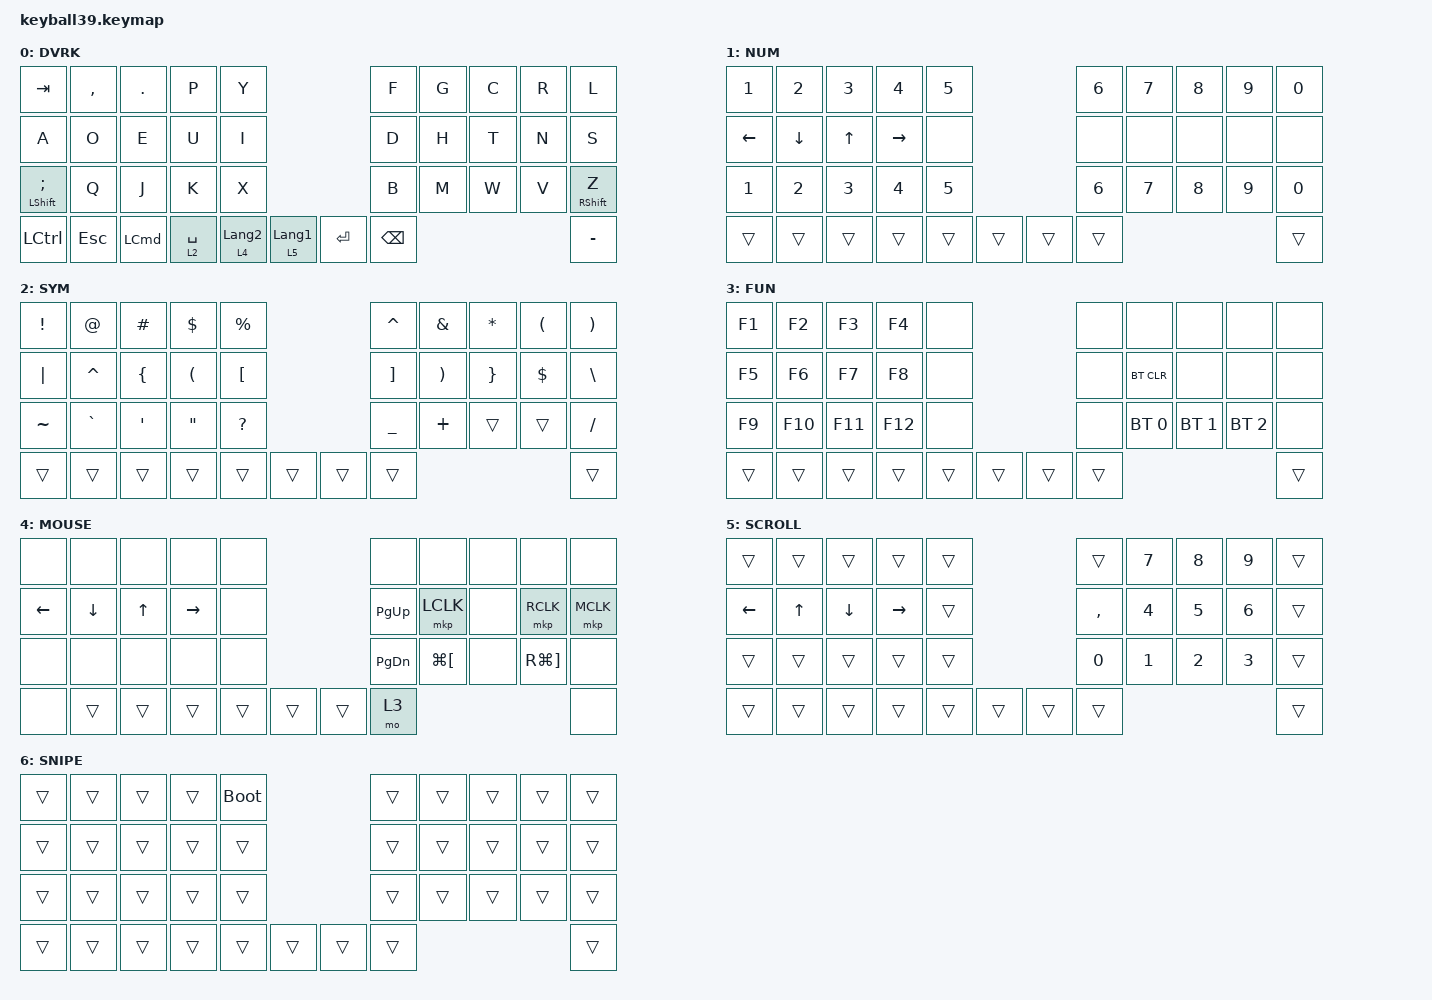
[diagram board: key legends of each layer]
#define DEFAULT 0
#define NUM     1
#define SYM     2
#define FUN     3
#define MOUSE   4
#define SCROLL  5
#define SNIPE   6

#include <behaviors/mouse_keys.dtsi>
#include <dt-bindings/zmk/mouse.h>
#include <behaviors.dtsi>
#include <dt-bindings/zmk/bt.h>
#include <dt-bindings/zmk/keys.h>
#include <dt-bindings/zmk/pointing.h>

&lt {
    tapping-term-ms = <240>;
    flavor = "balanced";
    quick-tap-ms = <150>;
};

&mt {
    tapping-term-ms = <200>;
    flavor = "tap-preferred";
    quick-tap-ms = <150>;
};

&caps_word { continue-list = <UNDERSCORE MINUS>; };

/ {
    // custom shift using mod-morph 

    behaviors {
        cmqus: comma_question {
            compatible = "zmk,behavior-mod-morph";
            label = "COMMA_QUESTION";
            #binding-cells = <0>;
            bindings = <&kp COMMA>, <&kp QUESTION>;

            mods = <(MOD_LSFT|MOD_RSFT)>;
        };

        dtsmi: dot_semi {
            compatible = "zmk,behavior-mod-morph";
            label = "DOT_SEMI";
            #binding-cells = <0>;
            bindings = <&kp DOT>, <&kp SEMI>;

            mods = <(MOD_LSFT|MOD_RSFT)>;
        };
    };

    macros {
        Hiragana: Hiragana {
            compatible = "zmk,behavior-macro";
            #binding-cells = <0>;
            bindings = <&kp LC(SPACE)>;
            label = "HIRAGANA";
        };
    };

    keymap {
        compatible = "zmk,keymap";

        default_layer {
            label = "DVRK";
            bindings = <
&kp TAB              &kp COMMA   &kp PERIOD        &kp P        &kp Y                                          &kp F          &kp G  &kp C  &kp R  &kp L
&kp A                &kp O       &kp E             &kp U        &kp I                                          &kp D          &kp H  &kp T  &kp N  &kp S
&mt LEFT_SHIFT SEMI  &kp Q       &kp J             &kp K        &kp X                                          &kp B          &kp M  &kp W  &kp V  &mt RIGHT_SHIFT Z
&kp LEFT_CONTROL     &kp ESCAPE  &kp LEFT_COMMAND  &lt 2 SPACE  &lt 4 LANGUAGE_2  &lt 5 LANGUAGE_1  &kp ENTER  &kp BACKSPACE                       &kp MINUS
            >;
        };

        number_layer {
            label = "NUM";
            bindings = <
&kp NUMBER_1  &kp NUMBER_2  &kp NUMBER_3  &kp NUMBER_4  &kp NUMBER_5                  &kp NUMBER_6  &kp NUMBER_7  &kp NUMBER_8  &kp NUMBER_9  &kp NUMBER_0
&kp LEFT      &kp DOWN      &kp UP_ARROW  &kp RIGHT     &none                         &none         &none         &none         &none         &none
&kp NUMBER_1  &kp NUMBER_2  &kp NUMBER_3  &kp NUMBER_4  &kp NUMBER_5                  &kp NUMBER_6  &kp NUMBER_7  &kp NUMBER_8  &kp NUMBER_9  &kp NUMBER_0
&trans        &trans        &trans        &trans        &trans        &trans  &trans  &trans                                                  &trans
            >;
        };

        symbol_layer {
            label = "SYM";
            bindings = <
&kp EXCLAMATION  &kp AT_SIGN  &kp HASH        &kp DOLLAR            &kp PERCENT                       &kp CARET          &kp AMPERSAND          &kp ASTERISK     &kp LEFT_PARENTHESIS  &kp RIGHT_PARENTHESIS
&kp PIPE         &kp CARET    &kp LEFT_BRACE  &kp LEFT_PARENTHESIS  &kp LEFT_BRACKET                  &kp RIGHT_BRACKET  &kp RIGHT_PARENTHESIS  &kp RIGHT_BRACE  &kp DOLLAR            &kp BACKSLASH
&kp TILDE        &kp GRAVE    &kp SQT         &kp DOUBLE_QUOTES     &kp QUESTION                      &kp UNDERSCORE     &kp PLUS               &trans           &trans                &kp SLASH
&trans           &trans       &trans          &trans                &trans            &trans  &trans  &trans                                                                           &trans
            >;
        };

        function_layer {
            label = "FUN";
            bindings = <
&kp F1  &kp F2   &kp F3   &kp F4   &none                   &none   &none         &none         &none         &none
&kp F5  &kp F6   &kp F7   &kp F8   &none                   &none   &bt BT_CLR    &none         &none         &none
&kp F9  &kp F10  &kp F11  &kp F12  &none                   &none   &bt BT_SEL 0  &bt BT_SEL 1  &bt BT_SEL 2  &none
&trans  &trans   &trans   &trans   &trans  &trans  &trans  &trans                                            &trans
            >;
        };

        mouse_layer {
            label = "MOUSE";
            bindings = <
&none           &none           &none         &none      &none                   &none          &none                 &none  &none                  &none
&kp LEFT_ARROW  &kp DOWN_ARROW  &kp UP_ARROW  &kp RIGHT  &none                   &kp PAGE_UP    &mkp LCLK             &none  &mkp RCLK              &mkp MCLK
&none           &none           &none         &none      &none                   &kp PAGE_DOWN  &kp LG(LEFT_BRACKET)  &none  &kp RG(RIGHT_BRACKET)  &none
&none           &trans          &trans        &trans     &trans  &trans  &trans  &mo 3                                                              &none
            >;
        };

        scroll_layer {
            label = "SCROLL";
            bindings = <
&trans          &trans        &trans          &trans           &trans                  &trans        &kp NUMBER_7  &kp NUMBER_8  &kp NUMBER_9  &trans
&kp LEFT_ARROW  &kp UP_ARROW  &kp DOWN_ARROW  &kp RIGHT_ARROW  &trans                  &kp COMMA     &kp NUMBER_4  &kp NUMBER_5  &kp NUMBER_6  &trans
&trans          &trans        &trans          &trans           &trans                  &kp NUMBER_0  &kp NUMBER_1  &kp NUMBER_2  &kp NUMBER_3  &trans
&trans          &trans        &trans          &trans           &trans  &trans  &trans  &trans                                                  &trans
            >;
        };

        snipe_layer {
            label = "SNIPE";
            bindings = <
&trans  &trans  &trans  &trans  &bootloader                  &trans  &trans  &trans  &trans  &trans
&trans  &trans  &trans  &trans  &trans                       &trans  &trans  &trans  &trans  &trans
&trans  &trans  &trans  &trans  &trans                       &trans  &trans  &trans  &trans  &trans
&trans  &trans  &trans  &trans  &trans       &trans  &trans  &trans                          &trans
            >;
        };
    };
};
